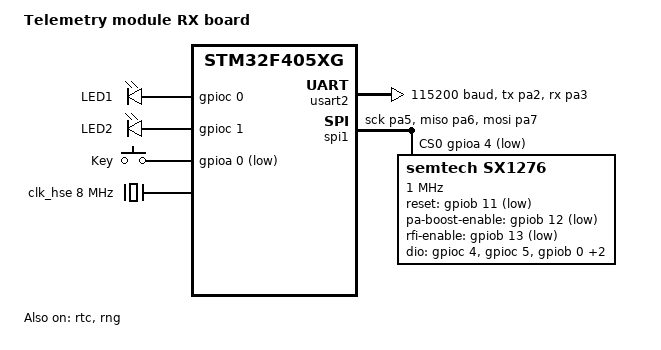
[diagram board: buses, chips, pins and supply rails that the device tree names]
/*
 * Copyright (c) 2021, Vitaliy Nimych <vitaliy.nimych@gmail.com>
 *
 * SPDX-License-Identifier: Apache-2.0
 */

/dts-v1/;
#include <st/f4/stm32f405Xg.dtsi>
#include <st/f4/stm32f405rgtx-pinctrl.dtsi>

/ {
	model = "Telemetry module RX board";
	compatible = "telem,stm32-f405";

	chosen {
		zephyr,console = &usart2;
		zephyr,shell-uart = &usart2;
		zephyr,sram = &sram0;
		zephyr,flash = &flash0;
		zephyr,ccm = &ccm0;
		//zephyr,can-primary = &can1;
	};

	leds {
		compatible = "gpio-leds";
		led_1: led_1 {
			gpios = <&gpioc 0 GPIO_ACTIVE_HIGH>;
			label = "LED1";
		};

		led_2: led_2 {
			gpios = <&gpioc 1 GPIO_ACTIVE_HIGH>;
			label = "LED2";
		};
	};

	gpio_keys {
		compatible = "gpio-keys";
		user_button: button {
			label = "Key";
			gpios = <&gpioa 0 GPIO_ACTIVE_LOW>;
		};
	};

	aliases {
		led0 = &led_1;
		led1 = &led_2;
		sw0 = &user_button;
		lora0 = &lora;
	};
};

&clk_hse {
	clock-frequency = <DT_FREQ_M(8)>;
	status = "okay";
};

&pll {
	div-m = <4>;
	mul-n = <168>;
	div-p = <2>;
	div-q = <7>;
	clocks = <&clk_hse>;
	status = "okay";
};

&rcc {
	clocks = <&pll>;
	clock-frequency = <DT_FREQ_M(168)>;
	ahb-prescaler = <1>;
	apb1-prescaler = <4>;
	apb2-prescaler = <2>;
};

&usart2 {
	pinctrl-0 = <&usart2_tx_pa2 &usart2_rx_pa3>;
	current-speed = <115200>;
	status = "okay";
};

&rtc {
	status = "okay";
};


&rng {
	status = "okay";
};


&spi1 {
	status = "okay";
	pinctrl-0 = <&spi1_sck_pa5 &spi1_miso_pa6 &spi1_mosi_pa7>;
    cs-gpios = <&gpioa 4 (GPIO_ACTIVE_LOW | GPIO_PULL_UP)>;

	lora: sx1276@0 {
		compatible = "semtech,sx1276";
		reg = <0>;
		label = "sx1276";
		reset-gpios = <&gpiob 11 (GPIO_ACTIVE_LOW | GPIO_PULL_UP)>;
		pa-boost-enable-gpios = <&gpiob 12 GPIO_ACTIVE_LOW>;
		//rfo-enable-gpios = <&gpiob 13 GPIO_ACTIVE_LOW>;
		rfi-enable-gpios = <&gpiob 13 GPIO_ACTIVE_LOW>;

		dio-gpios = <&gpioc 4 (GPIO_PULL_DOWN | GPIO_ACTIVE_HIGH)>,
        <&gpioc 5 (GPIO_PULL_DOWN | GPIO_ACTIVE_HIGH)>,
        <&gpiob 0 (GPIO_PULL_DOWN | GPIO_ACTIVE_HIGH)>,
        <&gpiob 1 (GPIO_PULL_DOWN | GPIO_ACTIVE_HIGH)>,
        <&gpiob 2 (GPIO_PULL_DOWN | GPIO_ACTIVE_HIGH)>;
		spi-max-frequency = <1000000>;
		//power-amplifier-output = "pa-boost";
	};
};

